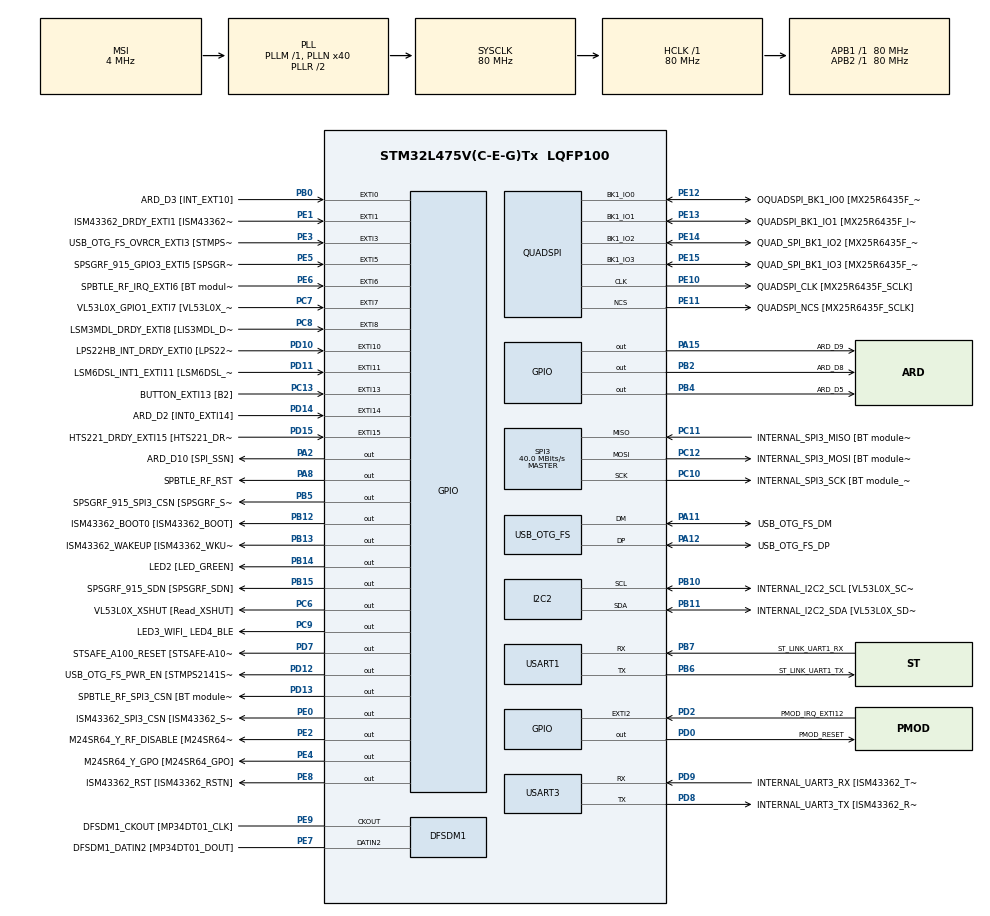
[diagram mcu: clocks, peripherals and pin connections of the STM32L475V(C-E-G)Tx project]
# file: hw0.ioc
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FREERTOS.Tasks01=defaultTask,24,128,StartDefaultTask,Default,NULL,Dynamic,NULL,NULL
FREERTOS.configTOTAL_HEAP_SIZE=8000
I2C2.Timing=0x10D19CE4
Mcu.Family=STM32L4
Mcu.Name=STM32L475V(C-E-G)Tx
Mcu.Package=LQFP100
NVIC.EXTI15_10_IRQn=true\:5\:0\:false\:false\:true\:true\:true\:true\:true
NVIC.EXTI9_5_IRQn=true\:5\:0\:false\:false\:true\:true\:true\:true\:true
NVIC.PriorityGroup=NVIC_PRIORITYGROUP_4
NVIC.TIM7_IRQn=true\:15\:0\:false\:false\:true\:false\:false\:true\:true
NVIC.TimeBase=TIM7_IRQn
NVIC.TimeBaseIP=TIM7
PA0.GPIO_Label=ARD_D1 [UART4_TX]
PA0.Signal=UART4_TX
PA1.GPIO_Label=ARD_D0 [UART4_RX]
PA1.Signal=UART4_RX
PA10.GPIO_Label=USB_OTG_FS_ID
PA10.Signal=USB_OTG_FS_ID
PA11.GPIO_Label=USB_OTG_FS_DM
PA11.Mode=Device_Only
PA11.Signal=USB_OTG_FS_DM
PA12.GPIO_Label=USB_OTG_FS_DP
PA12.Mode=Device_Only
PA12.Signal=USB_OTG_FS_DP
PA13\ (JTMS-SWDIO).GPIO_Label=SYS_JTMS_SWDIO
PA13\ (JTMS-SWDIO).Mode=Serial_Wire
PA13\ (JTMS-SWDIO).Signal=SYS_JTMS-SWDIO
PA14\ (JTCK-SWCLK).GPIO_Label=SYS_JTCK_SWCLK
PA14\ (JTCK-SWCLK).Mode=Serial_Wire
PA14\ (JTCK-SWCLK).Signal=SYS_JTCK-SWCLK
PA15\ (JTDI).GPIO_Label=ARD_D9
PA15\ (JTDI).Signal=GPIO_Output
PA2.GPIO_Label=ARD_D10 [SPI_SSN]
PA2.Signal=GPIO_Output
PA3.GPIO_Label=ARD_D4
PA3.Signal=S_TIM2_CH4
PA4.GPIO_Label=ARD_D7
PA4.Signal=ADCx_IN9
PA5.GPIO_Label=ARD_D13 [SPI1_SCK]
PA5.Signal=SPI1_SCK
PA6.GPIO_Label=ARD_D12 [SPI1_MISO]
PA6.Signal=SPI1_MISO
PA7.GPIO_Label=ARD_D11 [SPI1_MOSI]
PA7.Signal=SPI1_MOSI
PA8.GPIO_Label=SPBTLE_RF_RST
PA8.Signal=GPIO_Output
PA9.GPIO_Label=USB_OTG_FS_VBUS [STMPS2141STR_OUT]
PA9.Signal=USB_OTG_FS_VBUS
PB0.GPIO_Label=ARD_D3 [INT_EXT10]
PB0.Signal=GPXTI0
PB1.GPIO_Label=ARD_D6 [ADC1_IN6]
PB1.Signal=ADCx_IN16
PB10.GPIO_Label=INTERNAL_I2C2_SCL [VL53L0X_SCL]
PB10.GPIO_Pu=GPIO_PULLUP
PB10.Mode=I2C
PB10.Signal=I2C2_SCL
PB11.GPIO_Label=INTERNAL_I2C2_SDA [VL53L0X_SDA]
PB11.GPIO_Pu=GPIO_PULLUP
PB11.Mode=I2C
PB11.Signal=I2C2_SDA
PB12.GPIO_Label=ISM43362_BOOT0 [ISM43362_BOOT]
PB12.Signal=GPIO_Output
PB13.GPIO_Label=ISM43362_WAKEUP [ISM43362_WKUP]
PB13.Signal=GPIO_Output
PB14.GPIO_Label=LED2 [LED_GREEN]
PB14.Signal=GPIO_Output
PB15.GPIO_Label=SPSGRF_915_SDN [SPSGRF_SDN]
PB15.Signal=GPIO_Output
PB2.GPIO_Label=ARD_D8
PB2.Signal=GPIO_Output
PB3\ (JTDO-TRACESWO).GPIO_Label=SYS_JTD0_SWO
PB3\ (JTDO-TRACESWO).Signal=SYS_JTDO-SWO
PB4\ (NJTRST).GPIO_Label=ARD_D5
PB4\ (NJTRST).Signal=GPIO_Output
PB5.GPIO_Label=SPSGRF_915_SPI3_CSN [SPSGRF_SPI_CS]
PB5.PinState=GPIO_PIN_SET
PB5.Signal=GPIO_Output
PB6.GPIO_Label=ST_LINK_UART1_TX
PB6.Mode=Asynchronous
PB6.Signal=USART1_TX
PB7.GPIO_Label=ST_LINK_UART1_RX
PB7.Mode=Asynchronous
PB7.Signal=USART1_RX
PB8.GPIO_Label=ARD_D15 [I2C1_SCL]
PB8.Signal=I2C1_SCL
PB9.GPIO_Label=ARD_D14 [I2C1_SDA]
PB9.Signal=I2C1_SDA
PC0.GPIO_Label=ARD_A5 [ADC]
PC0.Signal=ADCx_IN1
PC1.GPIO_Label=ARD_A4 [ADC]
PC1.Signal=ADCx_IN2
PC10.GPIO_Label=INTERNAL_SPI3_SCK [BT module_SPI_SCLK] [ISM43362_SCK]
PC10.Mode=Full_Duplex_Master
PC10.Signal=SPI3_SCK
PC11.GPIO_Label=INTERNAL_SPI3_MISO [BT module_SPI_MISO] [ISM43362_MISO]
PC11.Mode=Full_Duplex_Master
PC11.Signal=SPI3_MISO
PC12.GPIO_Label=INTERNAL_SPI3_MOSI [BT module_SPI_MOSI] [ISM43362_MOSI]
PC12.Mode=Full_Duplex_Master
PC12.Signal=SPI3_MOSI
PC13.GPIO_Label=BUTTON_EXTI13 [B2]
PC13.GPIO_ModeDefaultEXTI=GPIO_MODE_IT_FALLING
PC13.Signal=GPXTI13
PC14-OSC32_IN\ (PC14).Mode=LSE-External-Oscillator
PC14-OSC32_IN\ (PC14).Signal=RCC_OSC32_IN
PC15-OSC32_OUT\ (PC15).Mode=LSE-External-Oscillator
PC15-OSC32_OUT\ (PC15).Signal=RCC_OSC32_OUT
PC2.GPIO_Label=ARD_A3 [ADC]
PC2.Signal=ADCx_IN3
PC3.GPIO_Label=ARD_A2 [ADC]
PC3.Signal=ADCx_IN4
PC4.GPIO_Label=ARD_A1 [ADC]
PC4.Signal=ADCx_IN13
PC5.GPIO_Label=ARD_A0 [ADC]
PC5.Signal=ADCx_IN14
PC6.GPIO_Label=VL53L0X_XSHUT [Read_XSHUT]
PC6.Signal=GPIO_Output
PC7.GPIO_Label=VL53L0X_GPIO1_EXTI7 [VL53L0X_GPIO1]
PC7.Signal=GPXTI7
PC8.GPIO_Label=LSM3MDL_DRDY_EXTI8 [LIS3MDL_DRDY]
PC8.Signal=GPXTI8
PC9.GPIO_Label=LED3_WIFI_ LED4_BLE
PC9.Signal=GPIO_Output
PD0.GPIO_Label=PMOD_RESET
PD0.Signal=GPIO_Output
PD1.GPIO_Label=PMOD_SPI2_SCK
PD1.Signal=SPI2_SCK
PD10.GPIO_Label=LPS22HB_INT_DRDY_EXTI0 [LPS22HB_INT_DRDY] 
PD10.Signal=GPXTI10
PD11.GPIO_Label=LSM6DSL_INT1_EXTI11 [LSM6DSL_INT1]
PD11.Signal=GPXTI11
PD12.GPIO_Label=USB_OTG_FS_PWR_EN [STMPS2141STR_EN]
PD12.Signal=GPIO_Output
PD13.GPIO_Label=SPBTLE_RF_SPI3_CSN [BT module_SPI_CS]
PD13.PinState=GPIO_PIN_SET
PD13.Signal=GPIO_Output
PD14.GPIO_Label=ARD_D2 [INT0_EXTI14]
PD14.Signal=GPXTI14
PD15.GPIO_Label=HTS221_DRDY_EXTI15 [HTS221_DRDY]
PD15.Signal=GPXTI15
PD2.GPIO_Label=PMOD_IRQ_EXTI12
PD2.Signal=GPXTI2
PD3.GPIO_Label=PMOD_UART2_CTS
PD3.Signal=USART2_CTS
PD4.GPIO_Label=PMOD_UART2_RTS
PD4.Signal=USART2_RTS
PD5.GPIO_Label=PMOD_UART2_TX
PD5.Signal=USART2_TX
PD6.GPIO_Label=PMOD_UART2_RX
PD6.Signal=USART2_RX
PD7.GPIO_Label=STSAFE_A100_RESET [STSAFE-A100_RESET]
PD7.Signal=GPIO_Output
PD8.GPIO_Label=INTERNAL_UART3_TX [ISM43362_RX]
PD8.Mode=Asynchronous
PD8.Signal=USART3_TX
PD9.GPIO_Label=INTERNAL_UART3_RX [ISM43362_TX]
PD9.Mode=Asynchronous
PD9.Signal=USART3_RX
PE0.GPIO_Label=ISM43362_SPI3_CSN [ISM43362_SSN]
PE0.PinState=GPIO_PIN_SET
PE0.Signal=GPIO_Output
PE1.GPIO_Label=ISM43362_DRDY_EXTI1 [ISM43362_DATARDY]
PE1.Signal=GPXTI1
PE10.GPIO_Label=QUADSPI_CLK [MX25R6435F_SCLK]
PE10.Mode=Single Bank
PE10.Signal=QUADSPI_CLK
PE11.GPIO_Label=QUADSPI_NCS [MX25R6435F_SCLK]
PE11.Mode=Single Bank
PE11.Signal=QUADSPI_NCS
PE12.GPIO_Label=OQUADSPI_BK1_IO0 [MX25R6435F_IO0]
PE12.Mode=Single Bank
PE12.Signal=QUADSPI_BK1_IO0
PE13.GPIO_Label=QUADSPI_BK1_IO1 [MX25R6435F_IO1]
PE13.Mode=Single Bank
PE13.Signal=QUADSPI_BK1_IO1
PE14.GPIO_Label=QUAD_SPI_BK1_IO2 [MX25R6435F_IO2]
PE14.Mode=Single Bank
PE14.Signal=QUADSPI_BK1_IO2
PE15.GPIO_Label=QUAD_SPI_BK1_IO3 [MX25R6435F_IO3]
PE15.Mode=Single Bank
PE15.Signal=QUADSPI_BK1_IO3
PE2.GPIO_Label=M24SR64_Y_RF_DISABLE [M24SR64_RFDIS]
PE2.Signal=GPIO_Output
PE3.GPIO_Label=USB_OTG_FS_OVRCR_EXTI3 [STMPS2141STR_FAULT]
PE3.Signal=GPXTI3
PE4.GPIO_Label=M24SR64_Y_GPO [M24SR64_GPO]
PE4.Signal=GPIO_Output
PE5.GPIO_Label=SPSGRF_915_GPIO3_EXTI5 [SPSGRF_GPIO_3]
PE5.Signal=GPXTI5
PE6.GPIO_Label=SPBTLE_RF_IRQ_EXTI6 [BT module_SPI_IRQ]
PE6.Signal=GPXTI6
PE7.GPIO_Label=DFSDM1_DATIN2 [MP34DT01_DOUT]
PE7.Signal=S_DATAIN2DFSDM1
PE8.GPIO_Label=ISM43362_RST [ISM43362_RSTN]
PE8.Signal=GPIO_Output
PE9.GPIO_Label=DFSDM1_CKOUT [MP34DT01_CLK]
PE9.Signal=S_CKOUTDFSDM1
ProjectManager.HeapSize=0x200
ProjectManager.StackSize=0x400
ProjectManager.TargetToolchain=STM32CubeIDE
QUADSPI.ClockPrescaler=2
QUADSPI.FifoThreshold=4
QUADSPI.FlashSize=23
QUADSPI.SampleShifting=QSPI_SAMPLE_SHIFTING_HALFCYCLE
RCC.ADCFreq_Value=48000000
RCC.AHBFreq_Value=80000000
RCC.APB1Freq_Value=80000000
RCC.APB1TimFreq_Value=80000000
RCC.APB2Freq_Value=80000000
RCC.APB2TimFreq_Value=80000000
RCC.CortexFreq_Value=80000000
RCC.HCLKFreq_Value=80000000
RCC.HSE_VALUE=8000000
RCC.HSI_VALUE=16000000
RCC.MSI_VALUE=4000000
RCC.PLLN=40
RCC.PLLSAI1N=24
RCC.SYSCLKFreq_VALUE=80000000
RCC.SYSCLKSource=RCC_SYSCLKSOURCE_PLLCLK
RCC.USBFreq_Value=48000000
RCC.VCOOutputFreq_Value=160000000
SH.ADCx_IN1.0=ADC1_IN1
SH.ADCx_IN13.0=ADC1_IN13
SH.ADCx_IN14.0=ADC1_IN14
SH.ADCx_IN16.0=ADC1_IN16
SH.ADCx_IN2.0=ADC1_IN2
SH.ADCx_IN3.0=ADC1_IN3
SH.ADCx_IN4.0=ADC1_IN4
SH.ADCx_IN9.0=ADC1_IN9
SH.S_CKOUTDFSDM1.0=DFSDM1_CKOUT,CKOUT
SH.S_CKOUTDFSDM1.1=DFSDM1_CKOUT,PDM_SPI_Input_from_ch12_and_Internal_Clock
SH.S_DATAIN2DFSDM1.0=DFSDM1_DATIN2,PDM_SPI_Input_from_ch12_and_Internal_Clock
SH.S_TIM2_CH4.0=TIM2_CH4
SPI3.CalculateBaudRate=40.0 MBits/s
SPI3.Direction=SPI_DIRECTION_2LINES
SPI3.Mode=SPI_MODE_MASTER
SPI3.VirtualType=VM_MASTER
TIM6.Period=49999
TIM6.Prescaler=15999
USART1.VirtualMode-Asynchronous=VM_ASYNC
USART3.VirtualMode-Asynchronous=VM_ASYNC
USB_OTG_FS.VirtualMode=Device_Only
VP_FREERTOS_VS_CMSIS_V2.Mode=CMSIS_V2
VP_SYS_VS_tim7.Mode=TIM7
VP_TIM6_VS_ClockSourceINT.Mode=Enable_Timer
board=B-L475E-IOT01A2

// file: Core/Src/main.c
/* USER CODE BEGIN Header */
/**
  ******************************************************************************
  * @file           : main.c
  * @brief          : Main program body
  ******************************************************************************
  * @attention
  *
  * Copyright (c) 2025 STMicroelectronics.
  * All rights reserved.
  *
  * This software is licensed under terms that can be found in the LICENSE file
  * in the root directory of this software component.
  * If no LICENSE file comes with this software, it is provided AS-IS.
  *
  ******************************************************************************
  */
/* USER CODE END Header */
#include "main.h"
#include "cmsis_os.h"

/* USER CODE BEGIN Includes */
#include "cmsis_os2.h"
#include <stdbool.h>
/* USER CODE END Includes */

DFSDM_Channel_HandleTypeDef hdfsdm1_channel1;

I2C_HandleTypeDef hi2c2;

QSPI_HandleTypeDef hqspi;

SPI_HandleTypeDef hspi3;

TIM_HandleTypeDef htim6;

UART_HandleTypeDef huart1;
UART_HandleTypeDef huart3;

PCD_HandleTypeDef hpcd_USB_OTG_FS;

/* Definitions for defaultTask */
osThreadId_t defaultTaskHandle;
const osThreadAttr_t defaultTask_attributes = {
  .name = "defaultTask",
  .stack_size = 128 * 4,
  .priority = (osPriority_t) osPriorityNormal,
};
/* Definitions for myTask02 */

/* USER CODE BEGIN PV */
osThreadId_t task1Handle, task2Handle;
osMutexId_t  gBlinkMutex;
osSemaphoreId_t semBtn;    // 按鍵觸發
osSemaphoreId_t semTimer;  // 10s 觸發
/* USER CODE END PV */

void SystemClock_Config(void);
static void MX_GPIO_Init(void);
static void MX_DFSDM1_Init(void);
static void MX_I2C2_Init(void);
static void MX_QUADSPI_Init(void);
static void MX_SPI3_Init(void);
static void MX_USART1_UART_Init(void);
static void MX_USART3_UART_Init(void);
static void MX_USB_OTG_FS_PCD_Init(void);
static void MX_TIM6_Init(void);
void StartDefaultTask(void *argument);
void StartTask02(void *argument);

/* USER CODE BEGIN PFP */
static void Task1(void *argument);
static void Task2(void *argument);
static void blink_blocking(uint32_t duration_ms, float hz);
/* USER CODE END PFP */

/* USER CODE BEGIN 0 */
static void blink_blocking(uint32_t duration_ms, float hz)
{
  osMutexAcquire(gBlinkMutex, osWaitForever);

  uint32_t period_ms = (uint32_t)(1000.0f / hz);
  uint32_t elapsed = 0;
  // 簡單對等 on/off：每半週期切一次
  while (elapsed < duration_ms) {
    HAL_GPIO_TogglePin(LED2_GPIO_Port, LED2_Pin);
    osDelay(period_ms / 2);
    elapsed += period_ms / 2;

    HAL_GPIO_TogglePin(LED2_GPIO_Port, LED2_Pin);
    osDelay(period_ms / 2);
    elapsed += period_ms / 2;
  }
  HAL_GPIO_WritePin(LED2_GPIO_Port, LED2_Pin, GPIO_PIN_RESET);

    osMutexRelease(gBlinkMutex);
  }

static void Task1(void *argument)
{
  (void)argument;
  for (;;) {
    if (osSemaphoreAcquire(semBtn, osWaitForever) == osOK) {
      blink_blocking(5000, 1.0f);
    }
  }
}

static void Task2(void *argument)
{
  (void)argument;
  for (;;) {
    if (osSemaphoreAcquire(semTimer, osWaitForever) == osOK) {
      blink_blocking(2000, 10.0f);
    }
  }
}
void HAL_GPIO_EXTI_Callback(uint16_t GPIO_Pin)
{
  if (GPIO_Pin == BUTTON_EXTI13_Pin) {   // 依你專案的巨集名稱
    osSemaphoreRelease(semBtn);        // CMSIS-RTOS2 封裝的 ISR-safe
  }
}
void HAL_TIM_PeriodElapsedCallback(TIM_HandleTypeDef *htim)
{
  if (htim->Instance == TIM6) {
    osSemaphoreRelease(semTimer);      // ISR-safe
  }
}
/* USER CODE END 0 */

int main(void)
{

  /* MCU Configuration--------------------------------------------------------*/

  /* Reset of all peripherals, Initializes the Flash interface and the Systick. */
  HAL_Init();

  /* Configure the system clock */
  SystemClock_Config();

  /* Initialize all configured peripherals */
  MX_GPIO_Init();
  MX_DFSDM1_Init();
  MX_I2C2_Init();
  MX_QUADSPI_Init();
  MX_SPI3_Init();
  MX_USART1_UART_Init();
  MX_USART3_UART_Init();
  MX_USB_OTG_FS_PCD_Init();
  MX_TIM6_Init();
  /* USER CODE BEGIN 2 */
  HAL_TIM_Base_Start_IT(&htim6);
  /* USER CODE END 2 */

  /* Init scheduler */
  osKernelInitialize();

  /* USER CODE BEGIN RTOS_MUTEX */
  /* add mutexes, ... */
  const osMutexAttr_t mtxAttr = { .name = "blinkMutex" };
    gBlinkMutex = osMutexNew(&mtxAttr);
  /* USER CODE END RTOS_MUTEX */

  /* USER CODE BEGIN RTOS_SEMAPHORES */
  /* add semaphores, ... */
    const osSemaphoreAttr_t semBtnAttr = { .name = "semBtn" };
    semBtn   = osSemaphoreNew(1, 0, &semBtnAttr);
  /* USER CODE END RTOS_SEMAPHORES */

  /* USER CODE BEGIN RTOS_TIMERS */
  /* start timers, add new ones, ... */
    const osSemaphoreAttr_t semTmrAttr = { .name = "semTimer" };
    semTimer = osSemaphoreNew(1, 0, &semTmrAttr);
  /* USER CODE END RTOS_TIMERS */

  /* Create the thread(s) */
  /* creation of defaultTask */
  defaultTaskHandle = osThreadNew(StartDefaultTask, NULL, &defaultTask_attributes);

  /* creation of myTask02 */

  /* USER CODE BEGIN RTOS_THREADS */
  /* add threads, ... */
  const osThreadAttr_t t1Attr = {
      .name = "Task_1",
      .priority = osPriorityNormal,
      .stack_size = 512
    };
    task1Handle = osThreadNew(Task1, NULL, &t1Attr);

    const osThreadAttr_t t2Attr = {
      .name = "Task_2",
      .priority = osPriorityBelowNormal,
      .stack_size = 512
    };
    task2Handle = osThreadNew(Task2, NULL, &t2Attr);
  /* USER CODE END RTOS_THREADS */

  /* Start scheduler */
  osKernelStart();

  /* We should never get here as control is now taken by the scheduler */

  /* Infinite loop */
  while (1)
  {

  }
}

void SystemClock_Config(void)
{
  RCC_OscInitTypeDef RCC_OscInitStruct = {0};
  RCC_ClkInitTypeDef RCC_ClkInitStruct = {0};

  /** Configure the main internal regulator output voltage
  */
  if (HAL_PWREx_ControlVoltageScaling(PWR_REGULATOR_VOLTAGE_SCALE1) != HAL_OK)
  {
    Error_Handler();
  }

  /** Configure LSE Drive Capability
  */
  HAL_PWR_EnableBkUpAccess();
  __HAL_RCC_LSEDRIVE_CONFIG(RCC_LSEDRIVE_LOW);

  /** Initializes the RCC Oscillators according to the specified parameters
  * in the RCC_OscInitTypeDef structure.
  */
  RCC_OscInitStruct.OscillatorType = RCC_OSCILLATORTYPE_LSE|RCC_OSCILLATORTYPE_MSI;
  RCC_OscInitStruct.LSEState = RCC_LSE_ON;
  RCC_OscInitStruct.MSIState = RCC_MSI_ON;
  RCC_OscInitStruct.MSICalibrationValue = 0;
  RCC_OscInitStruct.MSIClockRange = RCC_MSIRANGE_6;
  RCC_OscInitStruct.PLL.PLLState = RCC_PLL_ON;
  RCC_OscInitStruct.PLL.PLLSource = RCC_PLLSOURCE_MSI;
  RCC_OscInitStruct.PLL.PLLM = 1;
  RCC_OscInitStruct.PLL.PLLN = 40;
  RCC_OscInitStruct.PLL.PLLP = RCC_PLLP_DIV7;
  RCC_OscInitStruct.PLL.PLLQ = RCC_PLLQ_DIV2;
  RCC_OscInitStruct.PLL.PLLR = RCC_PLLR_DIV2;
  if (HAL_RCC_OscConfig(&RCC_OscInitStruct) != HAL_OK)
  {
    Error_Handler();
  }

  /** Initializes the CPU, AHB and APB buses clocks
  */
  RCC_ClkInitStruct.ClockType = RCC_CLOCKTYPE_HCLK|RCC_CLOCKTYPE_SYSCLK
                              |RCC_CLOCKTYPE_PCLK1|RCC_CLOCKTYPE_PCLK2;
  RCC_ClkInitStruct.SYSCLKSource = RCC_SYSCLKSOURCE_PLLCLK;
  RCC_ClkInitStruct.AHBCLKDivider = RCC_SYSCLK_DIV1;
  RCC_ClkInitStruct.APB1CLKDivider = RCC_HCLK_DIV1;
  RCC_ClkInitStruct.APB2CLKDivider = RCC_HCLK_DIV1;

  if (HAL_RCC_ClockConfig(&RCC_ClkInitStruct, FLASH_LATENCY_4) != HAL_OK)
  {
    Error_Handler();
  }

  /** Enable MSI Auto calibration
  */
  HAL_RCCEx_EnableMSIPLLMode();
}

static void MX_DFSDM1_Init(void)
{

  hdfsdm1_channel1.Instance = DFSDM1_Channel1;
  hdfsdm1_channel1.Init.OutputClock.Activation = ENABLE;
  hdfsdm1_channel1.Init.OutputClock.Selection = DFSDM_CHANNEL_OUTPUT_CLOCK_SYSTEM;
  hdfsdm1_channel1.Init.OutputClock.Divider = 2;
  hdfsdm1_channel1.Init.Input.Multiplexer = DFSDM_CHANNEL_EXTERNAL_INPUTS;
  hdfsdm1_channel1.Init.Input.DataPacking = DFSDM_CHANNEL_STANDARD_MODE;
  hdfsdm1_channel1.Init.Input.Pins = DFSDM_CHANNEL_FOLLOWING_CHANNEL_PINS;
  hdfsdm1_channel1.Init.SerialInterface.Type = DFSDM_CHANNEL_SPI_RISING;
  hdfsdm1_channel1.Init.SerialInterface.SpiClock = DFSDM_CHANNEL_SPI_CLOCK_INTERNAL;
  hdfsdm1_channel1.Init.Awd.FilterOrder = DFSDM_CHANNEL_FASTSINC_ORDER;
  hdfsdm1_channel1.Init.Awd.Oversampling = 1;
  hdfsdm1_channel1.Init.Offset = 0;
  hdfsdm1_channel1.Init.RightBitShift = 0x00;
  if (HAL_DFSDM_ChannelInit(&hdfsdm1_channel1) != HAL_OK)
  {
    Error_Handler();
  }

}

static void MX_I2C2_Init(void)
{

  hi2c2.Instance = I2C2;
  hi2c2.Init.Timing = 0x10D19CE4;
  hi2c2.Init.OwnAddress1 = 0;
  hi2c2.Init.AddressingMode = I2C_ADDRESSINGMODE_7BIT;
  hi2c2.Init.DualAddressMode = I2C_DUALADDRESS_DISABLE;
  hi2c2.Init.OwnAddress2 = 0;
  hi2c2.Init.OwnAddress2Masks = I2C_OA2_NOMASK;
  hi2c2.Init.GeneralCallMode = I2C_GENERALCALL_DISABLE;
  hi2c2.Init.NoStretchMode = I2C_NOSTRETCH_DISABLE;
  if (HAL_I2C_Init(&hi2c2) != HAL_OK)
  {
    Error_Handler();
  }

  /** Configure Analogue filter
  */
  if (HAL_I2CEx_ConfigAnalogFilter(&hi2c2, I2C_ANALOGFILTER_ENABLE) != HAL_OK)
  {
    Error_Handler();
  }

  /** Configure Digital filter
  */
  if (HAL_I2CEx_ConfigDigitalFilter(&hi2c2, 0) != HAL_OK)
  {
    Error_Handler();
  }

}

static void MX_QUADSPI_Init(void)
{

  /* QUADSPI parameter configuration*/
  hqspi.Instance = QUADSPI;
  hqspi.Init.ClockPrescaler = 2;
  hqspi.Init.FifoThreshold = 4;
  hqspi.Init.SampleShifting = QSPI_SAMPLE_SHIFTING_HALFCYCLE;
  hqspi.Init.FlashSize = 23;
  hqspi.Init.ChipSelectHighTime = QSPI_CS_HIGH_TIME_1_CYCLE;
  hqspi.Init.ClockMode = QSPI_CLOCK_MODE_0;
  if (HAL_QSPI_Init(&hqspi) != HAL_OK)
  {
    Error_Handler();
  }

}

static void MX_SPI3_Init(void)
{

  /* SPI3 parameter configuration*/
  hspi3.Instance = SPI3;
  hspi3.Init.Mode = SPI_MODE_MASTER;
  hspi3.Init.Direction = SPI_DIRECTION_2LINES;
  hspi3.Init.DataSize = SPI_DATASIZE_4BIT;
  hspi3.Init.CLKPolarity = SPI_POLARITY_LOW;
  hspi3.Init.CLKPhase = SPI_PHASE_1EDGE;
  hspi3.Init.NSS = SPI_NSS_SOFT;
  hspi3.Init.BaudRatePrescaler = SPI_BAUDRATEPRESCALER_2;
  hspi3.Init.FirstBit = SPI_FIRSTBIT_MSB;
  hspi3.Init.TIMode = SPI_TIMODE_DISABLE;
  hspi3.Init.CRCCalculation = SPI_CRCCALCULATION_DISABLE;
  hspi3.Init.CRCPolynomial = 7;
  hspi3.Init.CRCLength = SPI_CRC_LENGTH_DATASIZE;
  hspi3.Init.NSSPMode = SPI_NSS_PULSE_ENABLE;
  if (HAL_SPI_Init(&hspi3) != HAL_OK)
  {
    Error_Handler();
  }

}

static void MX_TIM6_Init(void)
{

  TIM_MasterConfigTypeDef sMasterConfig = {0};

  htim6.Instance = TIM6;
  htim6.Init.Prescaler = 15999;
  htim6.Init.CounterMode = TIM_COUNTERMODE_UP;
  htim6.Init.Period = 49999;
  htim6.Init.AutoReloadPreload = TIM_AUTORELOAD_PRELOAD_DISABLE;
  if (HAL_TIM_Base_Init(&htim6) != HAL_OK)
  {
    Error_Handler();
  }
  sMasterConfig.MasterOutputTrigger = TIM_TRGO_RESET;
  sMasterConfig.MasterSlaveMode = TIM_MASTERSLAVEMODE_DISABLE;
  if (HAL_TIMEx_MasterConfigSynchronization(&htim6, &sMasterConfig) != HAL_OK)
  {
    Error_Handler();
  }

}

static void MX_USART1_UART_Init(void)
{

  huart1.Instance = USART1;
  huart1.Init.BaudRate = 115200;
  huart1.Init.WordLength = UART_WORDLENGTH_8B;
  huart1.Init.StopBits = UART_STOPBITS_1;
  huart1.Init.Parity = UART_PARITY_NONE;
  huart1.Init.Mode = UART_MODE_TX_RX;
  huart1.Init.HwFlowCtl = UART_HWCONTROL_NONE;
  huart1.Init.OverSampling = UART_OVERSAMPLING_16;
  huart1.Init.OneBitSampling = UART_ONE_BIT_SAMPLE_DISABLE;
  huart1.AdvancedInit.AdvFeatureInit = UART_ADVFEATURE_NO_INIT;
  if (HAL_UART_Init(&huart1) != HAL_OK)
  {
    Error_Handler();
  }

}

static void MX_USART3_UART_Init(void)
{

  huart3.Instance = USART3;
  huart3.Init.BaudRate = 115200;
  huart3.Init.WordLength = UART_WORDLENGTH_8B;
  huart3.Init.StopBits = UART_STOPBITS_1;
  huart3.Init.Parity = UART_PARITY_NONE;
  huart3.Init.Mode = UART_MODE_TX_RX;
  huart3.Init.HwFlowCtl = UART_HWCONTROL_NONE;
  huart3.Init.OverSampling = UART_OVERSAMPLING_16;
  huart3.Init.OneBitSampling = UART_ONE_BIT_SAMPLE_DISABLE;
  huart3.AdvancedInit.AdvFeatureInit = UART_ADVFEATURE_NO_INIT;
  if (HAL_UART_Init(&huart3) != HAL_OK)
  {
    Error_Handler();
  }

}

static void MX_USB_OTG_FS_PCD_Init(void)
{

  hpcd_USB_OTG_FS.Instance = USB_OTG_FS;
  hpcd_USB_OTG_FS.Init.dev_endpoints = 6;
  hpcd_USB_OTG_FS.Init.speed = PCD_SPEED_FULL;
  hpcd_USB_OTG_FS.Init.phy_itface = PCD_PHY_EMBEDDED;
  hpcd_USB_OTG_FS.Init.Sof_enable = DISABLE;
  hpcd_USB_OTG_FS.Init.low_power_enable = DISABLE;
  hpcd_USB_OTG_FS.Init.lpm_enable = DISABLE;
  hpcd_USB_OTG_FS.Init.battery_charging_enable = DISABLE;
  hpcd_USB_OTG_FS.Init.use_dedicated_ep1 = DISABLE;
  hpcd_USB_OTG_FS.Init.vbus_sensing_enable = DISABLE;
  if (HAL_PCD_Init(&hpcd_USB_OTG_FS) != HAL_OK)
  {
    Error_Handler();
  }

}

static void MX_GPIO_Init(void)
{
  GPIO_InitTypeDef GPIO_InitStruct = {0};

  /* GPIO Ports Clock Enable */
  __HAL_RCC_GPIOE_CLK_ENABLE();
  __HAL_RCC_GPIOC_CLK_ENABLE();
  __HAL_RCC_GPIOA_CLK_ENABLE();
  __HAL_RCC_GPIOB_CLK_ENABLE();
  __HAL_RCC_GPIOD_CLK_ENABLE();

  /*Configure GPIO pin Output Level */
  HAL_GPIO_WritePin(GPIOE, M24SR64_Y_RF_DISABLE_Pin|M24SR64_Y_GPO_Pin|ISM43362_RST_Pin, GPIO_PIN_RESET);

  /*Configure GPIO pin Output Level */
  HAL_GPIO_WritePin(GPIOA, ARD_D10_Pin|SPBTLE_RF_RST_Pin|ARD_D9_Pin, GPIO_PIN_RESET);

  /*Configure GPIO pin Output Level */
  HAL_GPIO_WritePin(GPIOB, ARD_D8_Pin|ISM43362_BOOT0_Pin|ISM43362_WAKEUP_Pin|LED2_Pin
                          |SPSGRF_915_SDN_Pin|ARD_D5_Pin, GPIO_PIN_RESET);

  /*Configure GPIO pin Output Level */
  HAL_GPIO_WritePin(GPIOD, USB_OTG_FS_PWR_EN_Pin|PMOD_RESET_Pin|STSAFE_A100_RESET_Pin, GPIO_PIN_RESET);

  /*Configure GPIO pin Output Level */
  HAL_GPIO_WritePin(SPBTLE_RF_SPI3_CSN_GPIO_Port, SPBTLE_RF_SPI3_CSN_Pin, GPIO_PIN_SET);

  /*Configure GPIO pin Output Level */
  HAL_GPIO_WritePin(GPIOC, VL53L0X_XSHUT_Pin|LED3_WIFI__LED4_BLE_Pin, GPIO_PIN_RESET);

  /*Configure GPIO pin Output Level */
  HAL_GPIO_WritePin(SPSGRF_915_SPI3_CSN_GPIO_Port, SPSGRF_915_SPI3_CSN_Pin, GPIO_PIN_SET);

  /*Configure GPIO pin Output Level */
  HAL_GPIO_WritePin(ISM43362_SPI3_CSN_GPIO_Port, ISM43362_SPI3_CSN_Pin, GPIO_PIN_SET);

  /*Configure GPIO pins : M24SR64_Y_RF_DISABLE_Pin M24SR64_Y_GPO_Pin ISM43362_RST_Pin ISM43362_SPI3_CSN_Pin */
  GPIO_InitStruct.Pin = M24SR64_Y_RF_DISABLE_Pin|M24SR64_Y_GPO_Pin|ISM43362_RST_Pin|ISM43362_SPI3_CSN_Pin;
  GPIO_InitStruct.Mode = GPIO_MODE_OUTPUT_PP;
  GPIO_InitStruct.Pull = GPIO_NOPULL;
  GPIO_InitStruct.Speed = GPIO_SPEED_FREQ_LOW;
  HAL_GPIO_Init(GPIOE, &GPIO_InitStruct);

  /*Configure GPIO pins : USB_OTG_FS_OVRCR_EXTI3_Pin SPSGRF_915_GPIO3_EXTI5_Pin SPBTLE_RF_IRQ_EXTI6_Pin ISM43362_DRDY_EXTI1_Pin */
  GPIO_InitStruct.Pin = USB_OTG_FS_OVRCR_EXTI3_Pin|SPSGRF_915_GPIO3_EXTI5_Pin|SPBTLE_RF_IRQ_EXTI6_Pin|ISM43362_DRDY_EXTI1_Pin;
  GPIO_InitStruct.Mode = GPIO_MODE_IT_RISING;
  GPIO_InitStruct.Pull = GPIO_NOPULL;
  HAL_GPIO_Init(GPIOE, &GPIO_InitStruct);

  /*Configure GPIO pin : BUTTON_EXTI13_Pin */
  GPIO_InitStruct.Pin = BUTTON_EXTI13_Pin;
  GPIO_InitStruct.Mode = GPIO_MODE_IT_FALLING;
  GPIO_InitStruct.Pull = GPIO_NOPULL;
  HAL_GPIO_Init(BUTTON_EXTI13_GPIO_Port, &GPIO_InitStruct);

  /*Configure GPIO pins : ARD_A5_Pin ARD_A4_Pin ARD_A3_Pin ARD_A2_Pin
                           ARD_A1_Pin ARD_A0_Pin */
  GPIO_InitStruct.Pin = ARD_A5_Pin|ARD_A4_Pin|ARD_A3_Pin|ARD_A2_Pin
                          |ARD_A1_Pin|ARD_A0_Pin;
  GPIO_InitStruct.Mode = GPIO_MODE_ANALOG_ADC_CONTROL;
  GPIO_InitStruct.Pull = GPIO_NOPULL;
  HAL_GPIO_Init(GPIOC, &GPIO_InitStruct);

  /*Configure GPIO pins : ARD_D1_Pin ARD_D0_Pin */
  GPIO_InitStruct.Pin = ARD_D1_Pin|ARD_D0_Pin;
  GPIO_InitStruct.Mode = GPIO_MODE_AF_PP;
  GPIO_InitStruct.Pull = GPIO_NOPULL;
  GPIO_InitStruct.Speed = GPIO_SPEED_FREQ_VERY_HIGH;
  GPIO_InitStruct.Alternate = GPIO_AF8_UART4;
  HAL_GPIO_Init(GPIOA, &GPIO_InitStruct);

  /*Configure GPIO pins : ARD_D10_Pin SPBTLE_RF_RST_Pin ARD_D9_Pin */
  GPIO_InitStruct.Pin = ARD_D10_Pin|SPBTLE_RF_RST_Pin|ARD_D9_Pin;
  GPIO_InitStruct.Mode = GPIO_MODE_OUTPUT_PP;
  GPIO_InitStruct.Pull = GPIO_NOPULL;
  GPIO_InitStruct.Speed = GPIO_SPEED_FREQ_LOW;
  HAL_GPIO_Init(GPIOA, &GPIO_InitStruct);

  /*Configure GPIO pin : ARD_D4_Pin */
  GPIO_InitStruct.Pin = ARD_D4_Pin;
  GPIO_InitStruct.Mode = GPIO_MODE_AF_PP;
  GPIO_InitStruct.Pull = GPIO_NOPULL;
  GPIO_InitStruct.Speed = GPIO_SPEED_FREQ_LOW;
  GPIO_InitStruct.Alternate = GPIO_AF1_TIM2;
  HAL_GPIO_Init(ARD_D4_GPIO_Port, &GPIO_InitStruct);

  /*Configure GPIO pin : ARD_D7_Pin */
  GPIO_InitStruct.Pin = ARD_D7_Pin;
  GPIO_InitStruct.Mode = GPIO_MODE_ANALOG_ADC_CONTROL;
  GPIO_InitStruct.Pull = GPIO_NOPULL;
  HAL_GPIO_Init(ARD_D7_GPIO_Port, &GPIO_InitStruct);

  /*Configure GPIO pins : ARD_D13_Pin ARD_D12_Pin ARD_D11_Pin */
  GPIO_InitStruct.Pin = ARD_D13_Pin|ARD_D12_Pin|ARD_D11_Pin;
  GPIO_InitStruct.Mode = GPIO_MODE_AF_PP;
  GPIO_InitStruct.Pull = GPIO_NOPULL;
  GPIO_InitStruct.Speed = GPIO_SPEED_FREQ_VERY_HIGH;
  GPIO_InitStruct.Alternate = GPIO_AF5_SPI1;
  HAL_GPIO_Init(GPIOA, &GPIO_InitStruct);

  /*Configure GPIO pin : ARD_D3_Pin */
  GPIO_InitStruct.Pin = ARD_D3_Pin;
  GPIO_InitStruct.Mode = GPIO_MODE_IT_RISING;
  GPIO_InitStruct.Pull = GPIO_NOPULL;
  HAL_GPIO_Init(ARD_D3_GPIO_Port, &GPIO_InitStruct);

  /*Configure GPIO pin : ARD_D6_Pin */
  GPIO_InitStruct.Pin = ARD_D6_Pin;
  GPIO_InitStruct.Mode = GPIO_MODE_ANALOG_ADC_CONTROL;
  GPIO_InitStruct.Pull = GPIO_NOPULL;
  HAL_GPIO_Init(ARD_D6_GPIO_Port, &GPIO_InitStruct);

  /*Configure GPIO pins : ARD_D8_Pin ISM43362_BOOT0_Pin ISM43362_WAKEUP_Pin LED2_Pin
                           SPSGRF_915_SDN_Pin ARD_D5_Pin SPSGRF_915_SPI3_CSN_Pin */
  GPIO_InitStruct.Pin = ARD_D8_Pin|ISM43362_BOOT0_Pin|ISM43362_WAKEUP_Pin|LED2_Pin
                          |SPSGRF_915_SDN_Pin|ARD_D5_Pin|SPSGRF_915_SPI3_CSN_Pin;
  GPIO_InitStruct.Mode = GPIO_MODE_OUTPUT_PP;
  GPIO_InitStruct.Pull = GPIO_NOPULL;
  GPIO_InitStruct.Speed = GPIO_SPEED_FREQ_LOW;
  HAL_GPIO_Init(GPIOB, &GPIO_InitStruct);

  /*Configure GPIO pins : LPS22HB_INT_DRDY_EXTI0_Pin LSM6DSL_INT1_EXTI11_Pin ARD_D2_Pin HTS221_DRDY_EXTI15_Pin
                           PMOD_IRQ_EXTI12_Pin */
  GPIO_InitStruct.Pin = LPS22HB_INT_DRDY_EXTI0_Pin|LSM6DSL_INT1_EXTI11_Pin|ARD_D2_Pin|HTS221_DRDY_EXTI15_Pin
                          |PMOD_IRQ_EXTI12_Pin;
  GPIO_InitStruct.Mode = GPIO_MODE_IT_RISING;
  GPIO_InitStruct.Pull = GPIO_NOPULL;
  HAL_GPIO_Init(GPIOD, &GPIO_InitStruct);

  /*Configure GPIO pins : USB_OTG_FS_PWR_EN_Pin SPBTLE_RF_SPI3_CSN_Pin PMOD_RESET_Pin STSAFE_A100_RESET_Pin */
  GPIO_InitStruct.Pin = USB_OTG_FS_PWR_EN_Pin|SPBTLE_RF_SPI3_CSN_Pin|PMOD_RESET_Pin|STSAFE_A100_RESET_Pin;
  GPIO_InitStruct.Mode = GPIO_MODE_OUTPUT_PP;
  GPIO_InitStruct.Pull = GPIO_NOPULL;
  GPIO_InitStruct.Speed = GPIO_SPEED_FREQ_LOW;
  HAL_GPIO_Init(GPIOD, &GPIO_InitStruct);

  /*Configure GPIO pins : VL53L0X_XSHUT_Pin LED3_WIFI__LED4_BLE_Pin */
  GPIO_InitStruct.Pin = VL53L0X_XSHUT_Pin|LED3_WIFI__LED4_BLE_Pin;
  GPIO_InitStruct.Mode = GPIO_MODE_OUTPUT_PP;
  GPIO_InitStruct.Pull = GPIO_NOPULL;
  GPIO_InitStruct.Speed = GPIO_SPEED_FREQ_LOW;
  HAL_GPIO_Init(GPIOC, &GPIO_InitStruct);

  /*Configure GPIO pins : VL53L0X_GPIO1_EXTI7_Pin LSM3MDL_DRDY_EXTI8_Pin */
  GPIO_InitStruct.Pin = VL53L0X_GPIO1_EXTI7_Pin|LSM3MDL_DRDY_EXTI8_Pin;
  GPIO_InitStruct.Mode = GPIO_MODE_IT_RISING;
  GPIO_InitStruct.Pull = GPIO_NOPULL;
  HAL_GPIO_Init(GPIOC, &GPIO_InitStruct);

  /*Configure GPIO pin : PMOD_SPI2_SCK_Pin */
  GPIO_InitStruct.Pin = PMOD_SPI2_SCK_Pin;
  GPIO_InitStruct.Mode = GPIO_MODE_AF_PP;
  GPIO_InitStruct.Pull = GPIO_NOPULL;
  GPIO_InitStruct.Speed = GPIO_SPEED_FREQ_VERY_HIGH;
  GPIO_InitStruct.Alternate = GPIO_AF5_SPI2;
  HAL_GPIO_Init(PMOD_SPI2_SCK_GPIO_Port, &GPIO_InitStruct);

  /*Configure GPIO pins : PMOD_UART2_CTS_Pin PMOD_UART2_RTS_Pin PMOD_UART2_TX_Pin PMOD_UART2_RX_Pin */
  GPIO_InitStruct.Pin = PMOD_UART2_CTS_Pin|PMOD_UART2_RTS_Pin|PMOD_UART2_TX_Pin|PMOD_UART2_RX_Pin;
  GPIO_InitStruct.Mode = GPIO_MODE_AF_PP;
  GPIO_InitStruct.Pull = GPIO_NOPULL;
  GPIO_InitStruct.Speed = GPIO_SPEED_FREQ_VERY_HIGH;
  GPIO_InitStruct.Alternate = GPIO_AF7_USART2;
  HAL_GPIO_Init(GPIOD, &GPIO_InitStruct);

  /*Configure GPIO pins : ARD_D15_Pin ARD_D14_Pin */
  GPIO_InitStruct.Pin = ARD_D15_Pin|ARD_D14_Pin;
  GPIO_InitStruct.Mode = GPIO_MODE_AF_OD;
  GPIO_InitStruct.Pull = GPIO_NOPULL;
  GPIO_InitStruct.Speed = GPIO_SPEED_FREQ_VERY_HIGH;
  GPIO_InitStruct.Alternate = GPIO_AF4_I2C1;
  HAL_GPIO_Init(GPIOB, &GPIO_InitStruct);

  /* EXTI interrupt init*/
  HAL_NVIC_SetPriority(EXTI9_5_IRQn, 5, 0);
  HAL_NVIC_EnableIRQ(EXTI9_5_IRQn);

  HAL_NVIC_SetPriority(EXTI15_10_IRQn, 5, 0);
  HAL_NVIC_EnableIRQ(EXTI15_10_IRQn);

}

void StartDefaultTask(void *argument)
{
  for(;;)
  {
    osDelay(1);
  }
}

void StartTask02(void *argument)
{
  for(;;)
  {
    osDelay(1);
  }
}

void HAL_TIM_PeriodElapsedCallback(TIM_HandleTypeDef *htim)
{
  if (htim->Instance == TIM7)
  {
    HAL_IncTick();
  }
}

void Error_Handler(void)
{
  __disable_irq();
  while (1)
  {
  }
}
